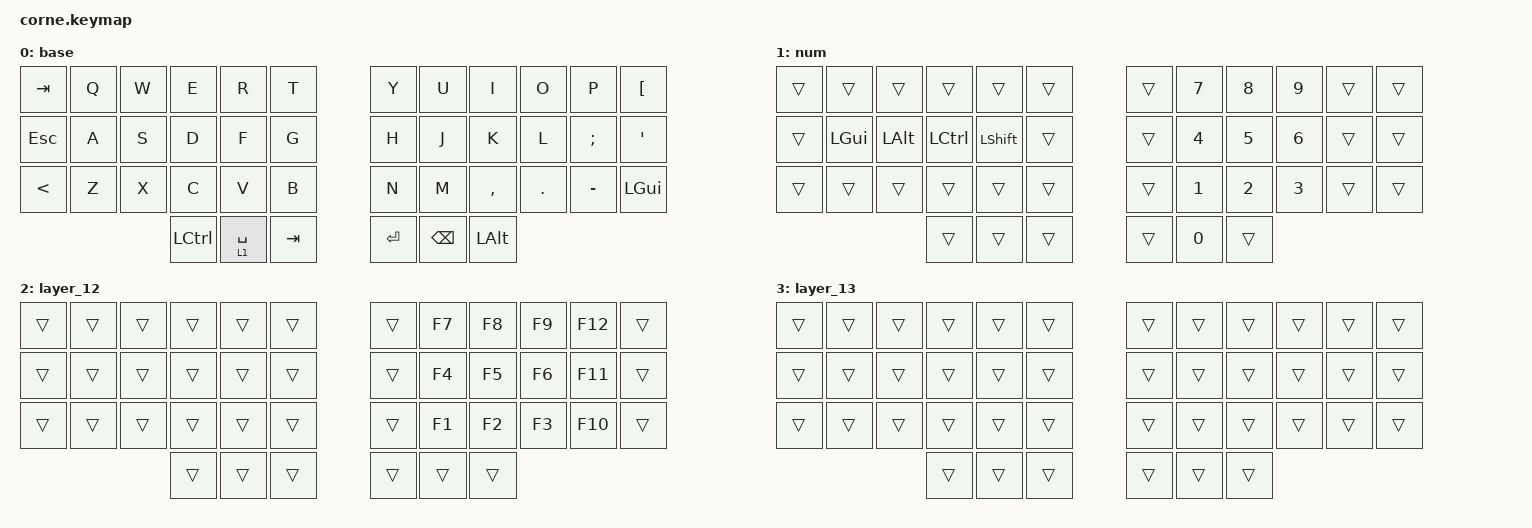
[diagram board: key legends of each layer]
/*
 * Copyright (c) 2020 The ZMK Contributors
 *
 * SPDX-License-Identifier: MIT
 */

#include "keys_nb_osx.h"
#include "keys_nb_win.h"
#include <behaviors.dtsi>
#include <dt-bindings/zmk/keys.h>

#define DEFAULT_L 0
#define SYMBOLS_L 1
#define ARROWS_L  2
#define NUMBERS_L 3
#define MOUSE_L 4
#define DEFAULT_L_WIN 5
#define SYMBOLS_L_WIN 6
#define ARROWS_L_WIN  7
#define NUMBERS_L_WIN 8
#define SHORTCUT_L_WIN 9

&caps_word { continue-list = <NB_UNDERSCORE NB_MINUS WNB_UNDERSCORE WNB_MINUS>; };

/ {
    combos {
        compatible = "zmk,combos";

        combo_ques {
            timeout-ms = <50>;
            key-positions = <7 8>;
            bindings = <&ques_excl>;
        };

        aa {
            bindings = <&kp LEFT_BRACKET>;
            key-positions = <31 32>;
        };

        ae {
            bindings = <&kp APOS>;
            key-positions = <3 4>;
        };

        oe {
            bindings = <&kp SEMI>;
            key-positions = <27 28>;
        };

        combo_lpar {
            bindings = <&kp NB_LPAR>;
            key-positions = <9 8>;
        };

        combo_rpara {
            bindings = <&kp NB_RPAR>;
            key-positions = <32 33>;
        };

        combo-lcurl {
            bindings = <&kp NB_RBRC>;
            key-positions = <2 3>;
        };

        combo_rcurl {
            bindings = <&kp NB_RBRC>;
            key-positions = <26 27>;
        };

        combo_at {
            bindings = <&kp NB_AT>;
            key-positions = <3 8>;
        };
    };
};

/ {
    behaviors {
        hml: homerow_mods {
            compatible = "zmk,behavior-hold-tap";
            #binding-cells = <2>;
            flavor = "balanced";
            tapping-term-ms = <280>;
            quick-tap-ms = <175>;                // repeat on tap-into-hold
            require-prior-idle-ms = <150>;
            bindings = <&kp>, <&kp>;

            hold-trigger-key-positions = <6 6 7 8 9 10 11 18 19 20 21 22 23 30 31 32 33 34 35 39 40 41 36 37 38>;
            hold-trigger-on-release;
        };

        thb: thumb_mods {
            compatible = "zmk,behavior-hold-tap";
            #binding-cells = <2>;
            tapping-term-ms = <200>;
            quick-tap-ms = <200>;
            flavor = "hold-preferred";
            bindings = <&kp>, <&kp>;
        };

        thb2: thumb_mods_layer {
            compatible = "zmk,behavior-hold-tap";
            #binding-cells = <2>;
            tapping-term-ms = <300>;
            quick-tap-ms = <200>;
            flavor = "hold-preferred";
            bindings = <&mo>, <&kp>;
        };

        apos_dqt: quot_doublequot {
            compatible = "zmk,behavior-mod-morph";
            #binding-cells = <0>;
            bindings = <&kp NB_APOS>, <&kp NB_DQT>;

            label = "quotus";
            mods = <(MOD_LSFT|MOD_RSFT)>;
        };

        ques_excl: questionmark_exlamation_mark {
            compatible = "zmk,behavior-mod-morph";
            #binding-cells = <0>;
            bindings = <&kp NB_QMARK>, <&kp NB_EXCL>;

            label = "questius";
            mods = <(MOD_LSFT|MOD_RSFT)>;
        };

        hmr: hmr {
            compatible = "zmk,behavior-hold-tap";
            #binding-cells = <2>;
            flavor = "balanced";
            tapping-term-ms = <280>;
            quick-tap-ms = <175>;                // repeat on tap-into-hold
            require-prior-idle-ms = <150>;
            bindings = <&kp>, <&kp>;

            label = "HMR";
            hold-trigger-key-positions = <0 1 2 3 4 5 12 13 14 15 16 17 24 25 26 27 28 29 36 37 38 39 40 39 40 41>;
            hold-trigger-on-release;
        };
    };

    keymap {
        compatible = "zmk,keymap";

        base {
            bindings = <
&kp TAB  &kp Q  &kp W  &kp E      &kp R        &kp T      &kp Y      &kp U     &kp I      &kp O    &kp P      &kp LBKT
&kp ESC  &kp A  &kp S  &kp D      &kp F        &kp G      &kp H      &kp J     &kp K      &kp L    &kp SEMI   &kp APOS
&kp LT   &kp Z  &kp X  &kp C      &kp V        &kp B      &kp N      &kp M     &kp COMMA  &kp DOT  &kp MINUS  &kp LGUI
                       &kp LCTRL  &lt 1 SPACE  &kp TAB    &kp ENTER  &kp BSPC  &kp LALT
            >;
        };

        num {
            bindings = <
&trans  &trans    &trans    &trans     &trans     &trans    &trans  &kp N7  &kp N8  &kp N9  &trans  &trans
&trans  &kp LGUI  &kp LALT  &kp LCTRL  &kp LSHFT  &trans    &trans  &kp N4  &kp N5  &kp N6  &trans  &trans
&trans  &trans    &trans    &trans     &trans     &trans    &trans  &kp N1  &kp N2  &kp N3  &trans  &trans
                            &trans     &trans     &trans    &trans  &kp N0  &trans
            >;
        };

        layer_12 {
            bindings = <
&trans  &trans  &trans  &trans  &trans  &trans    &trans  &kp F7  &kp F8  &kp F9  &kp F12  &trans
&trans  &trans  &trans  &trans  &trans  &trans    &trans  &kp F4  &kp F5  &kp F6  &kp F11  &trans
&trans  &trans  &trans  &trans  &trans  &trans    &trans  &kp F1  &kp F2  &kp F3  &kp F10  &trans
                        &trans  &trans  &trans    &trans  &trans  &trans
            >;
        };

        layer_13 {
            bindings = <
&trans  &trans  &trans  &trans  &trans  &trans    &trans  &trans  &trans  &trans  &trans  &trans
&trans  &trans  &trans  &trans  &trans  &trans    &trans  &trans  &trans  &trans  &trans  &trans
&trans  &trans  &trans  &trans  &trans  &trans    &trans  &trans  &trans  &trans  &trans  &trans
                        &trans  &trans  &trans    &trans  &trans  &trans
            >;
        };
    };
};
